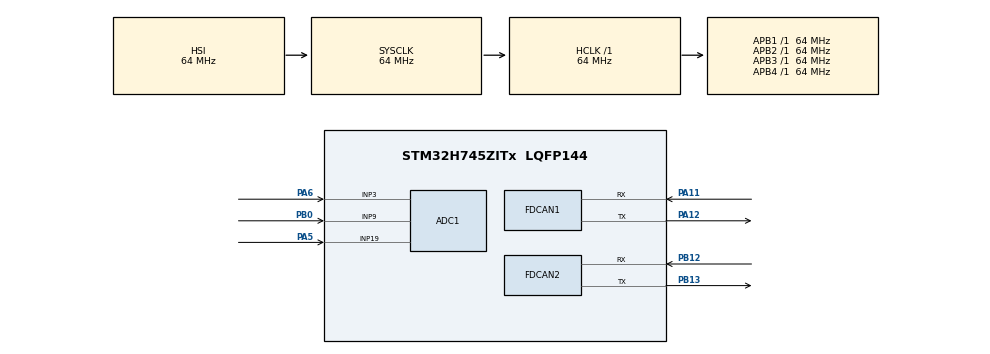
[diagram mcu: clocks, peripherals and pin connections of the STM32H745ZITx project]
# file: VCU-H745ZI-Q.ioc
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ADC1.Channel-3\#ChannelRegularConversion=ADC_CHANNEL_3
ADC1.Channel-4\#ChannelRegularConversion=ADC_CHANNEL_19
ADC1.Channel-5\#ChannelRegularConversion=ADC_CHANNEL_9
ADC1.ContinuousConvMode=ENABLE
ADC1.ConversionDataManagement=ADC_CONVERSIONDATA_DMA_CIRCULAR
ADC1.EOCSelection=ADC_EOC_SEQ_CONV
ADC1.NbrOfConversion=3
ADC1.NbrOfConversionFlag=1
ADC1.OffsetNumber-3\#ChannelRegularConversion=ADC_OFFSET_NONE
ADC1.OffsetNumber-4\#ChannelRegularConversion=ADC_OFFSET_NONE
ADC1.OffsetNumber-5\#ChannelRegularConversion=ADC_OFFSET_NONE
ADC1.OffsetSignedSaturation-3\#ChannelRegularConversion=DISABLE
ADC1.OffsetSignedSaturation-4\#ChannelRegularConversion=DISABLE
ADC1.OffsetSignedSaturation-5\#ChannelRegularConversion=DISABLE
ADC1.Overrun=ADC_OVR_DATA_OVERWRITTEN
ADC1.Rank-3\#ChannelRegularConversion=1
ADC1.Rank-4\#ChannelRegularConversion=2
ADC1.Rank-5\#ChannelRegularConversion=3
ADC1.SamplingTime-3\#ChannelRegularConversion=ADC_SAMPLETIME_1CYCLE_5
ADC1.SamplingTime-4\#ChannelRegularConversion=ADC_SAMPLETIME_1CYCLE_5
ADC1.SamplingTime-5\#ChannelRegularConversion=ADC_SAMPLETIME_1CYCLE_5
ADC1.master=1
CortexM4.IPs=BDMA,CORTEX_M4\:I,DEBUG,DMA,FATFS_M4\:I,FREERTOS_M4\:I,GPIO,IWDG2\:I,MDMA,NVIC2\:I,OPENAMP_M4\:I,PDM2PCM_M4\:I,PWR,RCC,RESMGR_UTILITY,SYS_M4\:I,USB_DEVICE_M4\:I,USB_HOST_M4\:I,VREFBUF,WWDG2\:I
CortexM7.IPs=BDMA\:I,CORTEX_M7\:I,DEBUG\:I,DMA\:I,FATFS_M7\:I,FREERTOS_M7\:I,GPIO\:I,IWDG1\:I,MDMA\:I,NVIC1\:I,OPENAMP_M7\:I,PDM2PCM_M7\:I,PWR\:I,RCC\:I,RESMGR_UTILITY\:I,SYS\:I,USB_DEVICE_M7\:I,USB_HOST_M7\:I,VREFBUF\:I,WWDG1\:I,ADC1\:I,FDCAN1\:I,FDCAN2\:I
Dma.ADC1.0.Direction=DMA_PERIPH_TO_MEMORY
Dma.ADC1.0.EventEnable=DISABLE
Dma.ADC1.0.FIFOMode=DMA_FIFOMODE_DISABLE
Dma.ADC1.0.Instance=DMA1_Stream0
Dma.ADC1.0.MemDataAlignment=DMA_MDATAALIGN_HALFWORD
Dma.ADC1.0.MemInc=DMA_MINC_ENABLE
Dma.ADC1.0.Mode=DMA_CIRCULAR
Dma.ADC1.0.PeriphDataAlignment=DMA_PDATAALIGN_HALFWORD
Dma.ADC1.0.PeriphInc=DMA_PINC_DISABLE
Dma.ADC1.0.Polarity=HAL_DMAMUX_REQ_GEN_RISING
Dma.ADC1.0.Priority=DMA_PRIORITY_VERY_HIGH
Dma.ADC1.0.RequestNumber=1
Dma.ADC1.0.SignalID=NONE
Dma.ADC1.0.SyncEnable=DISABLE
Dma.ADC1.0.SyncPolarity=HAL_DMAMUX_SYNC_NO_EVENT
Dma.ADC1.0.SyncRequestNumber=1
Dma.ADC1.0.SyncSignalID=NONE
Dma.Request0=ADC1
FDCAN1.CalculateBaudRateNominal=500000
FDCAN1.CalculateTimeBitNominal=2000
FDCAN1.CalculateTimeQuantumNominal=20.0
FDCAN1.DataPrescaler=25
FDCAN1.DataSyncJumpWidth=1
FDCAN1.DataTimeSeg1=2
FDCAN1.DataTimeSeg2=1
FDCAN1.MessageRAMOffset=0
FDCAN1.Mode=FDCAN_MODE_EXTERNAL_LOOPBACK
FDCAN1.NominalPrescaler=1
FDCAN1.NominalSyncJumpWidth=13
FDCAN1.NominalTimeSeg1=86
FDCAN1.NominalTimeSeg2=13
FDCAN1.RxFifo0ElmtsNbr=16
FDCAN1.RxFifo1ElmtsNbr=16
FDCAN1.StdFiltersNbr=1
FDCAN1.TxFifoQueueElmtsNbr=16
FDCAN2.AutoRetransmission=DISABLE
FDCAN2.CalculateBaudRateNominal=500000
FDCAN2.CalculateTimeBitNominal=2000
FDCAN2.CalculateTimeQuantumNominal=20.0
FDCAN2.DataPrescaler=25
FDCAN2.DataSyncJumpWidth=1
FDCAN2.DataTimeSeg1=2
FDCAN2.DataTimeSeg2=1
FDCAN2.MessageRAMOffset=0x214
FDCAN2.Mode=FDCAN_MODE_EXTERNAL_LOOPBACK
FDCAN2.NominalPrescaler=1
FDCAN2.NominalSyncJumpWidth=13
FDCAN2.NominalTimeSeg1=86
FDCAN2.NominalTimeSeg2=13
FDCAN2.ProtocolException=DISABLE
FDCAN2.RxFifo0ElmtsNbr=16
FDCAN2.RxFifo1ElmtsNbr=16
FDCAN2.StdFiltersNbr=1
FDCAN2.TxFifoQueueElmtsNbr=16
FDCAN2.TxFifoQueueMode=FDCAN_TX_FIFO_OPERATION
Mcu.Family=STM32H7
Mcu.Name=STM32H745ZITx
Mcu.Package=LQFP144
NVIC1.PriorityGroup=NVIC_PRIORITYGROUP_4
NVIC2.PriorityGroup=NVIC_PRIORITYGROUP_4
PA11.Mode=FDCAN_Activate
PA11.PinAttribute=CortexM7
PA11.Signal=FDCAN1_RX
PA12.Mode=FDCAN_Activate
PA12.PinAttribute=CortexM7
PA12.Signal=FDCAN1_TX
PA5.PinAttribute=CortexM7
PA5.Signal=ADCx_INP19
PA6.PinAttribute=CortexM7
PA6.Signal=ADCx_INP3
PB0.PinAttribute=CortexM7
PB0.Signal=ADCx_INP9
PB12.Mode=FDCAN_Activate
PB12.PinAttribute=CortexM7
PB12.Signal=FDCAN2_RX
PB13.Mode=FDCAN_Activate
PB13.PinAttribute=CortexM7
PB13.Signal=FDCAN2_TX
ProjectManager.HeapSize=M4-0x200,M7-0x200
ProjectManager.StackSize=M4-0x400,M7-0x400
ProjectManager.TargetToolchain=STM32CubeIDE
RCC.ADCFreq_Value=37500000
RCC.APB1Freq_Value=64000000
RCC.APB2Freq_Value=64000000
RCC.APB3Freq_Value=64000000
RCC.APB4Freq_Value=64000000
RCC.CortexFreq_Value=64000000
RCC.DIVM1=4
RCC.DIVM2=4
RCC.DIVN1=9
RCC.DIVN2=9
RCC.DIVP2=4
RCC.DIVQ1=3
RCC.HCLKFreq_Value=64000000
RCC.PLL2FRACN=3072
RCC.PLLFRACN=3072
RCC.SYSCLKFreq_VALUE=64000000
RCC.USBFreq_Value=50000000
SH.ADCx_INP19.0=ADC1_INP19,IN19-Single-Ended
SH.ADCx_INP3.0=ADC1_INP3,IN3-Single-Ended
SH.ADCx_INP9.0=ADC1_INP9,IN9-Single-Ended
board=custom

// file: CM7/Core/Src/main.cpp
/* USER CODE BEGIN Header */
/**
  ******************************************************************************
  * @file           : main.c
  * @brief          : Main program body
  ******************************************************************************
  * @attention
  *
  * Copyright (c) 2024 STMicroelectronics.
  * All rights reserved.
  *
  * This software is licensed under terms that can be found in the LICENSE file
  * in the root directory of this software component.
  * If no LICENSE file comes with this software, it is provided AS-IS.
  *
  ******************************************************************************
  */
/* USER CODE END Header */
#include "main.h"

/* USER CODE BEGIN Includes */
#include <MainLib/Inc/MainLib.hpp>

#include <stdio.h>
#include <stdlib.h>
/* USER CODE END Includes */

/* USER CODE BEGIN PD */

#ifndef HSEM_ID_0
#define HSEM_ID_0 (0U) /* HW semaphore 0*/
#endif

/* USER CODE END PD */

ADC_HandleTypeDef hadc1;
DMA_HandleTypeDef hdma_adc1;

FDCAN_HandleTypeDef hfdcan1;
FDCAN_HandleTypeDef hfdcan2;

/* USER CODE BEGIN PV */
VehicleControlUnit::MainLib::Main VCU(hfdcan1, hfdcan2, hadc1);
/* USER CODE END PV */

void SystemClock_Config(void);
static void MX_GPIO_Init(void);
static void MX_DMA_Init(void);
static void MX_ADC1_Init(void);
static void MX_FDCAN1_Init(void);
static void MX_FDCAN2_Init(void);

int main(void)
{
/* USER CODE BEGIN Boot_Mode_Sequence_0 */
  int32_t timeout;
/* USER CODE END Boot_Mode_Sequence_0 */

/* USER CODE BEGIN Boot_Mode_Sequence_1 */
  /* Wait until CPU2 boots and enters in stop mode or timeout*/
  timeout = 0xFFFF;
  while((__HAL_RCC_GET_FLAG(RCC_FLAG_D2CKRDY) != RESET) && (timeout-- > 0));
  if ( timeout < 0 )
  {
  Error_Handler();
  }
/* USER CODE END Boot_Mode_Sequence_1 */
  /* MCU Configuration--------------------------------------------------------*/

  /* Reset of all peripherals, Initializes the Flash interface and the Systick. */
  HAL_Init();

  /* Configure the system clock */
  SystemClock_Config();
/* USER CODE BEGIN Boot_Mode_Sequence_2 */
/* When system initialization is finished, Cortex-M7 will release Cortex-M4 by means of
HSEM notification */
/*HW semaphore Clock enable*/
__HAL_RCC_HSEM_CLK_ENABLE();
/*Take HSEM */
HAL_HSEM_FastTake(HSEM_ID_0);
/*Release HSEM in order to notify the CPU2(CM4)*/
HAL_HSEM_Release(HSEM_ID_0,0);
/* wait until CPU2 wakes up from stop mode */
timeout = 0xFFFF;
while((__HAL_RCC_GET_FLAG(RCC_FLAG_D2CKRDY) == RESET) && (timeout-- > 0));
if ( timeout < 0 )
{
Error_Handler();
}
/* USER CODE END Boot_Mode_Sequence_2 */

  /* Initialize all configured peripherals */
  MX_GPIO_Init();
  MX_DMA_Init();
  MX_ADC1_Init();
  MX_FDCAN1_Init();
  MX_FDCAN2_Init();
  /* USER CODE BEGIN 2 */
  VCU.Setup();
  /* USER CODE END 2 */

  /* Infinite loop */
  /* USER CODE BEGIN WHILE */
  while (1)
  {
	HAL_Delay(500);
	VCU.Loop();
    /* USER CODE END WHILE */

  }
}

void SystemClock_Config(void)
{
  RCC_OscInitTypeDef RCC_OscInitStruct = {0};
  RCC_ClkInitTypeDef RCC_ClkInitStruct = {0};

  /** Supply configuration update enable
  */
  HAL_PWREx_ConfigSupply(PWR_DIRECT_SMPS_SUPPLY);

  /** Configure the main internal regulator output voltage
  */
  __HAL_PWR_VOLTAGESCALING_CONFIG(PWR_REGULATOR_VOLTAGE_SCALE3);

  while(!__HAL_PWR_GET_FLAG(PWR_FLAG_VOSRDY)) {}

  /** Initializes the RCC Oscillators according to the specified parameters
  * in the RCC_OscInitTypeDef structure.
  */
  RCC_OscInitStruct.OscillatorType = RCC_OSCILLATORTYPE_HSI;
  RCC_OscInitStruct.HSIState = RCC_HSI_DIV1;
  RCC_OscInitStruct.HSICalibrationValue = RCC_HSICALIBRATION_DEFAULT;
  RCC_OscInitStruct.PLL.PLLState = RCC_PLL_ON;
  RCC_OscInitStruct.PLL.PLLSource = RCC_PLLSOURCE_HSI;
  RCC_OscInitStruct.PLL.PLLM = 4;
  RCC_OscInitStruct.PLL.PLLN = 9;
  RCC_OscInitStruct.PLL.PLLP = 2;
  RCC_OscInitStruct.PLL.PLLQ = 3;
  RCC_OscInitStruct.PLL.PLLR = 2;
  RCC_OscInitStruct.PLL.PLLRGE = RCC_PLL1VCIRANGE_3;
  RCC_OscInitStruct.PLL.PLLVCOSEL = RCC_PLL1VCOMEDIUM;
  RCC_OscInitStruct.PLL.PLLFRACN = 3072;
  if (HAL_RCC_OscConfig(&RCC_OscInitStruct) != HAL_OK)
  {
    Error_Handler();
  }

  /** Initializes the CPU, AHB and APB buses clocks
  */
  RCC_ClkInitStruct.ClockType = RCC_CLOCKTYPE_HCLK|RCC_CLOCKTYPE_SYSCLK
                              |RCC_CLOCKTYPE_PCLK1|RCC_CLOCKTYPE_PCLK2
                              |RCC_CLOCKTYPE_D3PCLK1|RCC_CLOCKTYPE_D1PCLK1;
  RCC_ClkInitStruct.SYSCLKSource = RCC_SYSCLKSOURCE_HSI;
  RCC_ClkInitStruct.SYSCLKDivider = RCC_SYSCLK_DIV1;
  RCC_ClkInitStruct.AHBCLKDivider = RCC_HCLK_DIV1;
  RCC_ClkInitStruct.APB3CLKDivider = RCC_APB3_DIV1;
  RCC_ClkInitStruct.APB1CLKDivider = RCC_APB1_DIV1;
  RCC_ClkInitStruct.APB2CLKDivider = RCC_APB2_DIV1;
  RCC_ClkInitStruct.APB4CLKDivider = RCC_APB4_DIV1;

  if (HAL_RCC_ClockConfig(&RCC_ClkInitStruct, FLASH_LATENCY_1) != HAL_OK)
  {
    Error_Handler();
  }
}

static void MX_ADC1_Init(void)
{

  ADC_MultiModeTypeDef multimode = {0};
  ADC_ChannelConfTypeDef sConfig = {0};

  /** Common config
  */
  hadc1.Instance = ADC1;
  hadc1.Init.ClockPrescaler = ADC_CLOCK_ASYNC_DIV1;
  hadc1.Init.Resolution = ADC_RESOLUTION_16B;
  hadc1.Init.ScanConvMode = ADC_SCAN_ENABLE;
  hadc1.Init.EOCSelection = ADC_EOC_SEQ_CONV;
  hadc1.Init.LowPowerAutoWait = DISABLE;
  hadc1.Init.ContinuousConvMode = ENABLE;
  hadc1.Init.NbrOfConversion = 3;
  hadc1.Init.DiscontinuousConvMode = DISABLE;
  hadc1.Init.ExternalTrigConv = ADC_SOFTWARE_START;
  hadc1.Init.ExternalTrigConvEdge = ADC_EXTERNALTRIGCONVEDGE_NONE;
  hadc1.Init.ConversionDataManagement = ADC_CONVERSIONDATA_DMA_CIRCULAR;
  hadc1.Init.Overrun = ADC_OVR_DATA_OVERWRITTEN;
  hadc1.Init.LeftBitShift = ADC_LEFTBITSHIFT_NONE;
  hadc1.Init.OversamplingMode = DISABLE;
  if (HAL_ADC_Init(&hadc1) != HAL_OK)
  {
    Error_Handler();
  }

  /** Configure the ADC multi-mode
  */
  multimode.Mode = ADC_MODE_INDEPENDENT;
  if (HAL_ADCEx_MultiModeConfigChannel(&hadc1, &multimode) != HAL_OK)
  {
    Error_Handler();
  }

  /** Configure Regular Channel
  */
  sConfig.Channel = ADC_CHANNEL_3;
  sConfig.Rank = ADC_REGULAR_RANK_1;
  sConfig.SamplingTime = ADC_SAMPLETIME_1CYCLE_5;
  sConfig.SingleDiff = ADC_SINGLE_ENDED;
  sConfig.OffsetNumber = ADC_OFFSET_NONE;
  sConfig.Offset = 0;
  sConfig.OffsetSignedSaturation = DISABLE;
  if (HAL_ADC_ConfigChannel(&hadc1, &sConfig) != HAL_OK)
  {
    Error_Handler();
  }

  /** Configure Regular Channel
  */
  sConfig.Channel = ADC_CHANNEL_19;
  sConfig.Rank = ADC_REGULAR_RANK_2;
  if (HAL_ADC_ConfigChannel(&hadc1, &sConfig) != HAL_OK)
  {
    Error_Handler();
  }

  /** Configure Regular Channel
  */
  sConfig.Channel = ADC_CHANNEL_9;
  sConfig.Rank = ADC_REGULAR_RANK_3;
  if (HAL_ADC_ConfigChannel(&hadc1, &sConfig) != HAL_OK)
  {
    Error_Handler();
  }

}

static void MX_FDCAN1_Init(void)
{

  hfdcan1.Instance = FDCAN1;
  hfdcan1.Init.FrameFormat = FDCAN_FRAME_CLASSIC;
  hfdcan1.Init.Mode = FDCAN_MODE_EXTERNAL_LOOPBACK;
  hfdcan1.Init.AutoRetransmission = DISABLE;
  hfdcan1.Init.TransmitPause = DISABLE;
  hfdcan1.Init.ProtocolException = DISABLE;
  hfdcan1.Init.NominalPrescaler = 1;
  hfdcan1.Init.NominalSyncJumpWidth = 13;
  hfdcan1.Init.NominalTimeSeg1 = 86;
  hfdcan1.Init.NominalTimeSeg2 = 13;
  hfdcan1.Init.DataPrescaler = 25;
  hfdcan1.Init.DataSyncJumpWidth = 1;
  hfdcan1.Init.DataTimeSeg1 = 2;
  hfdcan1.Init.DataTimeSeg2 = 1;
  hfdcan1.Init.MessageRAMOffset = 0;
  hfdcan1.Init.StdFiltersNbr = 1;
  hfdcan1.Init.ExtFiltersNbr = 0;
  hfdcan1.Init.RxFifo0ElmtsNbr = 16;
  hfdcan1.Init.RxFifo0ElmtSize = FDCAN_DATA_BYTES_8;
  hfdcan1.Init.RxFifo1ElmtsNbr = 16;
  hfdcan1.Init.RxFifo1ElmtSize = FDCAN_DATA_BYTES_8;
  hfdcan1.Init.RxBuffersNbr = 0;
  hfdcan1.Init.RxBufferSize = FDCAN_DATA_BYTES_8;
  hfdcan1.Init.TxEventsNbr = 0;
  hfdcan1.Init.TxBuffersNbr = 0;
  hfdcan1.Init.TxFifoQueueElmtsNbr = 16;
  hfdcan1.Init.TxFifoQueueMode = FDCAN_TX_FIFO_OPERATION;
  hfdcan1.Init.TxElmtSize = FDCAN_DATA_BYTES_8;
  if (HAL_FDCAN_Init(&hfdcan1) != HAL_OK)
  {
    Error_Handler();
  }
  /* USER CODE BEGIN FDCAN1_Init 2 */
  FDCAN_FilterTypeDef sFilterConfig;

  	sFilterConfig.IdType = FDCAN_STANDARD_ID;
  	sFilterConfig.FilterIndex = 0;
  	sFilterConfig.FilterType = FDCAN_FILTER_RANGE;
  	sFilterConfig.FilterConfig = FDCAN_FILTER_TO_RXFIFO0;
  	sFilterConfig.FilterID1 = 0;
  	sFilterConfig.FilterID2 = 0x100;
  	sFilterConfig.RxBufferIndex = 0;
  	if (HAL_FDCAN_ConfigFilter(&hfdcan1, &sFilterConfig) != HAL_OK)
  	{
  		printf("filter not work\n");
  	}
  	HAL_FDCAN_ConfigGlobalFilter(&hfdcan1, FDCAN_ACCEPT_IN_RX_FIFO0, FDCAN_ACCEPT_IN_RX_FIFO0, FDCAN_REJECT_REMOTE, FDCAN_REJECT_REMOTE);
  /* USER CODE END FDCAN1_Init 2 */

}

static void MX_FDCAN2_Init(void)
{

  hfdcan2.Instance = FDCAN2;
  hfdcan2.Init.FrameFormat = FDCAN_FRAME_CLASSIC;
  hfdcan2.Init.Mode = FDCAN_MODE_EXTERNAL_LOOPBACK;
  hfdcan2.Init.AutoRetransmission = DISABLE;
  hfdcan2.Init.TransmitPause = DISABLE;
  hfdcan2.Init.ProtocolException = DISABLE;
  hfdcan2.Init.NominalPrescaler = 1;
  hfdcan2.Init.NominalSyncJumpWidth = 13;
  hfdcan2.Init.NominalTimeSeg1 = 86;
  hfdcan2.Init.NominalTimeSeg2 = 13;
  hfdcan2.Init.DataPrescaler = 25;
  hfdcan2.Init.DataSyncJumpWidth = 1;
  hfdcan2.Init.DataTimeSeg1 = 2;
  hfdcan2.Init.DataTimeSeg2 = 1;
  hfdcan2.Init.MessageRAMOffset = 0x214;
  hfdcan2.Init.StdFiltersNbr = 1;
  hfdcan2.Init.ExtFiltersNbr = 0;
  hfdcan2.Init.RxFifo0ElmtsNbr = 16;
  hfdcan2.Init.RxFifo0ElmtSize = FDCAN_DATA_BYTES_8;
  hfdcan2.Init.RxFifo1ElmtsNbr = 16;
  hfdcan2.Init.RxFifo1ElmtSize = FDCAN_DATA_BYTES_8;
  hfdcan2.Init.RxBuffersNbr = 0;
  hfdcan2.Init.RxBufferSize = FDCAN_DATA_BYTES_8;
  hfdcan2.Init.TxEventsNbr = 0;
  hfdcan2.Init.TxBuffersNbr = 0;
  hfdcan2.Init.TxFifoQueueElmtsNbr = 16;
  hfdcan2.Init.TxFifoQueueMode = FDCAN_TX_FIFO_OPERATION;
  hfdcan2.Init.TxElmtSize = FDCAN_DATA_BYTES_8;
  if (HAL_FDCAN_Init(&hfdcan2) != HAL_OK)
  {
    Error_Handler();
  }
  /* USER CODE BEGIN FDCAN2_Init 2 */
  FDCAN_FilterTypeDef sFilterConfig;

	sFilterConfig.IdType = FDCAN_STANDARD_ID;
	sFilterConfig.FilterIndex = 1;
	sFilterConfig.FilterType = FDCAN_FILTER_RANGE;
	sFilterConfig.FilterConfig = FDCAN_FILTER_TO_RXFIFO1;
	sFilterConfig.FilterID1 = 0;
	sFilterConfig.FilterID2 = 0x100;
	sFilterConfig.RxBufferIndex = 0;
	if (HAL_FDCAN_ConfigFilter(&hfdcan2, &sFilterConfig) != HAL_OK)
	{
		printf("filter not work\n");
	}
	HAL_FDCAN_ConfigGlobalFilter(&hfdcan2, FDCAN_ACCEPT_IN_RX_FIFO1, FDCAN_ACCEPT_IN_RX_FIFO1, FDCAN_REJECT_REMOTE, FDCAN_REJECT_REMOTE);
  /* USER CODE END FDCAN2_Init 2 */

}

static void MX_DMA_Init(void)
{

  /* DMA controller clock enable */
  __HAL_RCC_DMA1_CLK_ENABLE();

}

static void MX_GPIO_Init(void)
{

  /* GPIO Ports Clock Enable */
  __HAL_RCC_GPIOA_CLK_ENABLE();
  __HAL_RCC_GPIOB_CLK_ENABLE();

}

void Error_Handler(void)
{
  __disable_irq();
  while (1)
  {
  }
}
